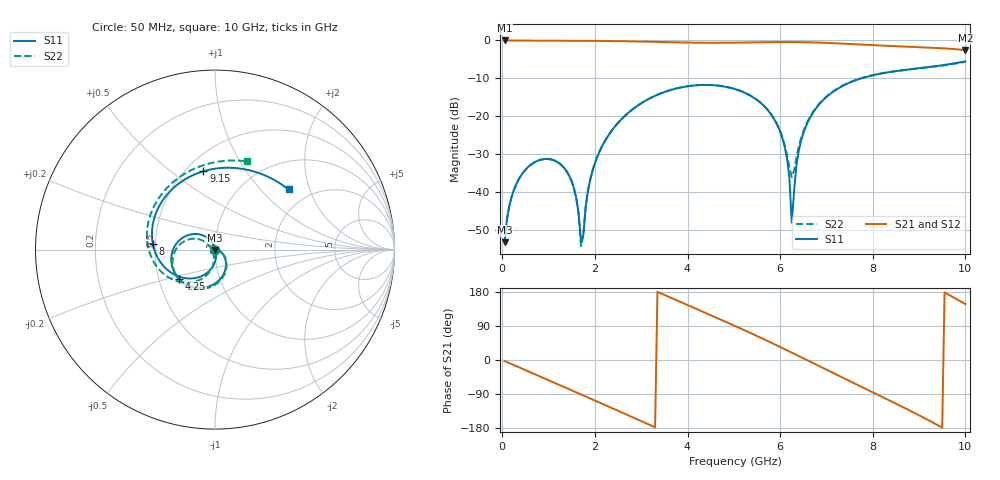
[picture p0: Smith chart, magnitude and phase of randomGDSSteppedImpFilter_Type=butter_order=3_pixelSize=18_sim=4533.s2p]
! freq	dB(S11)	phase(S11)	dB(S12)	phase(S12)
!  dB(S21)	phase(S21)	dB(S22)	phase(S22)
!S-par simulation data
#  GHz  S  DB  R 50
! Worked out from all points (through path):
!   200 points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, 50 MHz to 10 GHz, reference 50 ohm
!   highest |S21| = -0.01 dB at 50 MHz (marker M1); lowest = -2.6 dB at 10 GHz (marker M2)
!   group delay of S21, straight-line fit = 157 ps
!   lowest |S11| = -53.2 dB at 50 MHz (marker M3), VSWR 1.00, Z = 50 - j0.219 ohm
!   |S11| at or under -10 dB: start of sweep to 7.753 GHz
!   |S22| runs from -54.2 to -5.6 dB; largest |S21 - S12| = 0
!   S11 on the Smith chart (normalised r, x): 50 MHz: 1.00, -0.00; 4.25 GHz: 0.64, -0.22; 8 GHz: 0.49, +0.03; 9.15 GHz: 0.61, +0.66; 10 GHz: 1.56, +1.45
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0.05  -53.19 -90.8  -0.01 -2.7  -0.01 -2.7  -53.22 -90.8
0.15  -43.73 -97.6  -0.02 -8.1  -0.02 -8.1  -43.76 -97.5
0.3  -37.94 -106.2  -0.03 -16.1  -0.03 -16.1  -37.97 -105.9
0.9  -31.29 -139.8  -0.06 -48.0  -0.06 -48.0  -31.27 -138.8
1.45  -35.79 -172.9  -0.09 -77.4  -0.09 -77.4  -35.81 -170.7
1.6  -41.68 173.3  -0.10 -85.4  -0.10 -85.4  -41.83 176.7
1.7  -52.94 127.4  -0.10 -90.8  -0.10 -90.8  -54.23 130.8
1.75  -51.29 33.0  -0.10 -93.5  -0.10 -93.5  -51.47 26.2
1.9  -36.65 -6.3  -0.11 -101.5  -0.11 -101.5  -36.54 -6.2
2.2  -26.88 -27.0  -0.14 -117.8  -0.14 -117.8  -26.83 -25.6
3.4  -14.07 -94.4  -0.40 177.1  -0.40 177.1  -14.06 -90.9
4.25  -11.78 -140.5  -0.60 131.6  -0.60 131.6  -11.76 -135.2
5.05  -12.92 175.6  -0.58 88.5  -0.58 88.5  -12.90 -176.3
6  -24.06 118.2  -0.42 34.4  -0.42 34.4  -23.91 141.8
6.15  -31.28 105.6  -0.41 25.5  -0.41 25.5  -30.30 150.2
6.25  -48.06 58.9  -0.42 19.6  -0.42 19.6  -36.01 -162.6
6.4  -29.19 -79.1  -0.44 10.6  -0.44 10.6  -28.13 -99.3
6.7  -19.24 -101.2  -0.51 -7.5  -0.51 -7.5  -19.02 -101.0
8  -9.19 175.1  -1.24 -85.2  -1.24 -85.2  -9.14 -169.1
8.35  -8.37 152.3  -1.44 -106.0  -1.44 -106.0  -8.35 171.6
9.15  -7.10 98.4  -1.83 -155.4  -1.83 -155.4  -7.17 125.7
10  -5.53 39.3  -2.57 147.5  -2.57 147.5  -5.64 70.1
